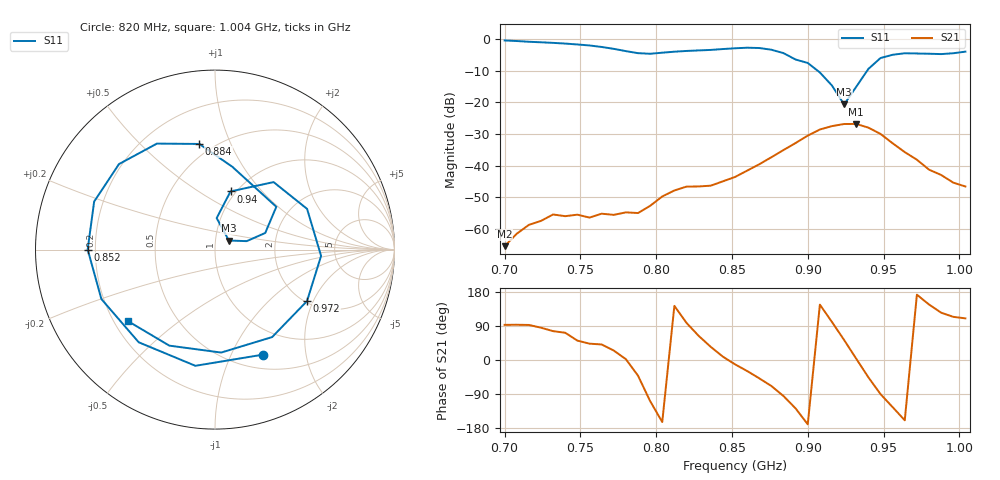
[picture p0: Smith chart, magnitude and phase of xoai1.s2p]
# Hz S RI R 50
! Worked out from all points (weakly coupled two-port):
!   39 points, 700 MHz to 1.004 GHz, reference 50 ohm
!   highest |S21| = -26.84 dB at 932 MHz (marker M1); lowest = -65.4 dB at 700 MHz (marker M2)
!   lowest |S11| = -20.7 dB at 924 MHz (marker M3), VSWR 1.20, Z = 58 + j5.92 ohm
!   |S11| at or under -10 dB: 906.4 MHz to 939.3 MHz (32.89 MHz wide, 3.56 % of centre)
!   S12 and S22 are empty: the file has one direction only
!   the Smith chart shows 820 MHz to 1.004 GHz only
!   S11 on the Smith chart (normalised r, x): 820 MHz: 0.67, -1.34; 852 MHz: 0.17, +0.00; 884 MHz: 0.42, +0.77; 940 MHz: 0.94, +0.69; 972 MHz: 2.05, -1.79; 1.004 GHz: 0.26, -0.34
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7e8  0.7636 0.5528  -2.61e-05 0.000538  0 0  0 0
7.24e8  0.8452 -0.2516  0.000111 0.00134  0 0  0 0
7.4e8  0.4582 -0.7059  0.000497 0.00152  0 0  0 0
7.56e8  -0.1943 -0.7615  0.00111 0.00104  0 0  0 0
7.72e8  -0.6662 -0.1998  0.00152 0.000709  0 0  0 0
7.8e8  -0.5977 0.2294  0.00184 6.9e-05  0 0  0 0
7.96e8  0.2472 0.5263  -0.000736 -0.00221  0 0  0 0
8.04e8  0.5795 0.1723  -0.00314 -0.000925  0 0  0 0
8.2e8  0.2693 -0.5849  -0.000648 0.00464  0 0  0 0
8.36e8  -0.4251 -0.5164  0.00398 0.00276  0 0  0 0
8.52e8  -0.7095 0.000531  0.00651 -0.00131  0 0  0 0
8.68e8  -0.535 0.4765  0.007 -0.00787  0 0  0 0
8.84e8  -0.0874 0.5886  -0.00157 -0.0176  0 0  0 0
9e8  0.3416 0.2385  -0.0293 -0.00529  0 0  0 0
9.08e8  0.2799 0.0928  -0.0309 0.0208  0 0  0 0
9.24e8  0.0772 0.0506  0.0275 0.0361  0 0  0 0
9.32e8  0.00931 0.1755  0.0454 0.00262  0 0  0 0
9.4e8  0.0865 0.3241  0.0278 -0.0285  0 0  0 0
9.56e8  0.513 0.2269  -0.0128 -0.0186  0 0  0 0
9.72e8  0.5127 -0.2868  -0.0123 0.00165  0 0  0 0
9.88e8  0.0344 -0.5737  -0.00408 0.00586  0 0  0 0
1.004e9  -0.4858 -0.3979  -0.0016 0.00442  0 0  0 0
